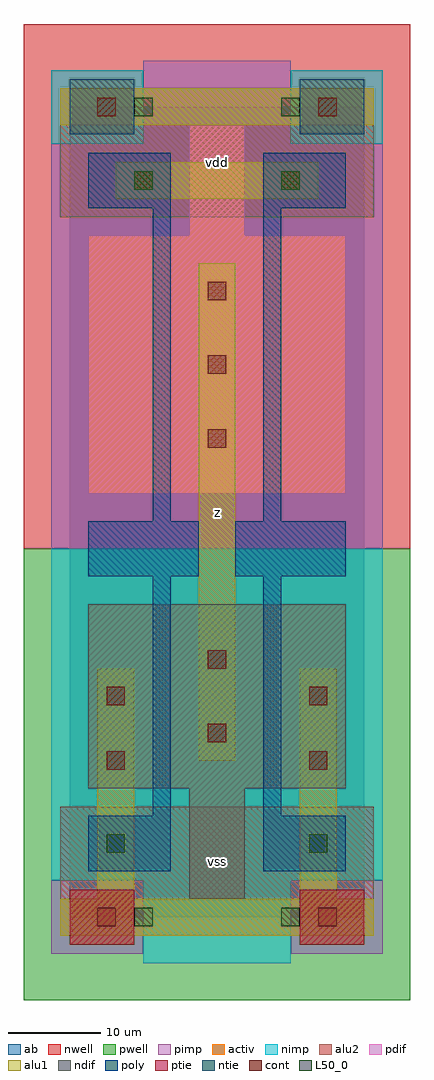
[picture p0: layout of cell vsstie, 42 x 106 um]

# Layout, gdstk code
import gdstk
lib = gdstk.Library(unit=1e-6, precision=1e-09)
def R(c, l, rs):  # rectangles x0, y0, x1, y1
    for r in rs: c.add(gdstk.rectangle(r[:2], r[2:], *l))
def A(c, l, x, y, w, h, nx, ny, dx, dy):  # array of equal rectangles
    R(c, l, [(x+i*dx, y+j*dy, x+i*dx+w, y+j*dy+h) for i in range(nx) for j in range(ny)])
ndif = (3, 0)
pdif = (4, 0)
ntie = (5, 0)
ptie = (6, 0)
cont = (25, 0)
pwell = (41, 0)
nwell = (42, 0)
activ = (43, 0)
pimp = (44, 0)
nimp = (45, 0)
poly = (46, 0)
alu1 = (49, 0)
L50_0 = (50, 0)
alu2 = (51, 0)
ab = (63, 0)

vsstie = lib.new_cell('vsstie')
R(vsstie, ndif, [(13,2,19,14), (2,14,30,34)])
R(vsstie, pdif, [(2,46,30,74), (13,74,19,86)])
R(vsstie, ntie, [(0,85,7,91), (25,85,32,91)])
R(vsstie, ptie, [(0,-3,7,3), (25,-3,32,3)])
A(vsstie, cont, 15, 51, 2, 2, 1, 3, 0, 8)
R(vsstie, cont, [(3,-1,5,1), (27,-1,29,1), (4,16,6,18), (26,16,28,18), (15,19,17,21), (4,23,6,25), (26,23,28,25), (15,27,17,29), (7,79,9,81), (23,79,25,81), (3,87,5,89), (27,87,29,89)])
R(vsstie, pwell, [(-5,-9,37,40)])
R(vsstie, nwell, [(-5,40,37,97)])
R(vsstie, activ, [(0,-3,7,3), (25,-3,32,3), (13,2,19,14), (2,14,30,34), (2,46,30,74), (13,74,19,86), (0,85,7,91), (25,85,32,91)])
R(vsstie, pimp, [(-2,-4,8,4), (24,-4,34,4), (-2,40,34,84), (8,84,24,93)])
R(vsstie, nimp, [(8,-5,24,4), (-2,4,34,40), (-2,84,8,92), (24,84,34,92)])
R(vsstie, poly, [(2,5,11,11), (21,5,30,11), (9,11,11,37), (21,11,23,37), (2,37,14,43), (18,37,30,43), (9,43,11,77), (21,43,23,77), (2,77,11,83), (21,77,30,83)])
R(vsstie, alu1, [(-1,-2,33,2), (3,2,7,27), (25,2,29,27), (14,17,18,71), (5,78,27,82), (-1,86,33,90)])
R(vsstie, L50_0, [(7,-1,9,1), (23,-1,25,1), (4,7,6,9), (26,7,28,9), (7,79,9,81), (23,79,25,81), (7,87,9,89), (23,87,25,89)])
R(vsstie, alu2, [(-1,-2,33,12), (-1,76,33,90)])
R(vsstie, ab, [(0,0,32,88)])
vsstie.add(gdstk.Label('z', (16,44), layer=49, texttype=0))
vsstie.add(gdstk.Label('vss', (16,6), layer=51, texttype=0))
vsstie.add(gdstk.Label('vdd', (16,82), layer=51, texttype=0))

lib.write_gds('vsstie.gds')
